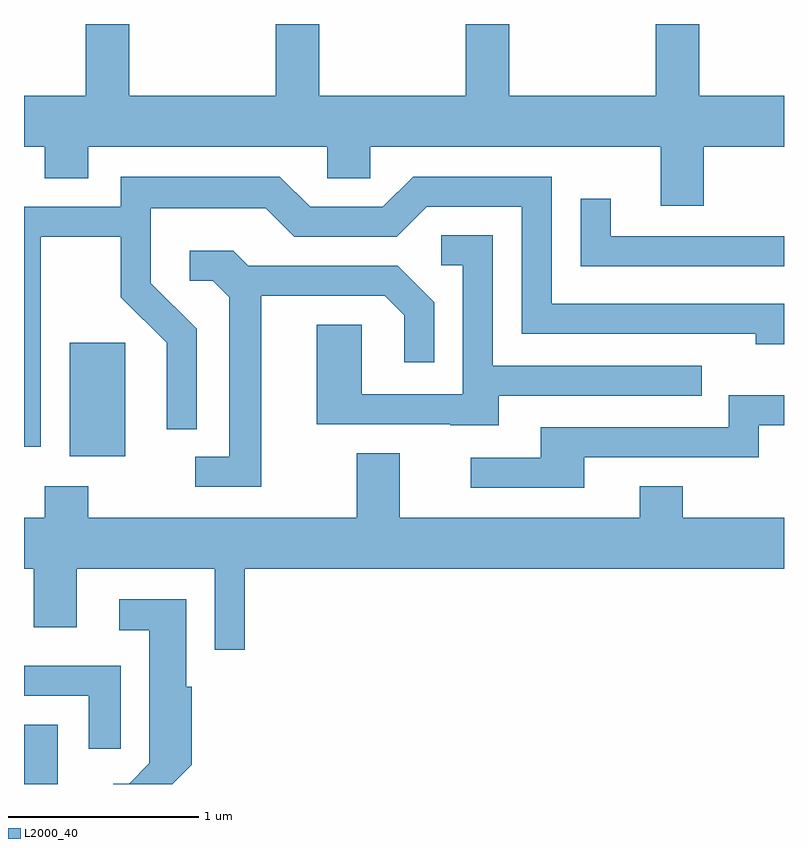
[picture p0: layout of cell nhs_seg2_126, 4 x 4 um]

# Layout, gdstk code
import gdstk
lib = gdstk.Library(unit=1e-6, precision=1e-09)
def R(c, l, rs):  # rectangles x0, y0, x1, y1
    for r in rs: c.add(gdstk.rectangle(r[:2], r[2:], *l))
def P(c, l, *ps):  # polygons
    for p in ps: c.add(gdstk.Polygon(p, *l))
L2000_40 = (2000, 40)

nhs_seg2_126 = lib.new_cell('nhs_seg2_126')
R(nhs_seg2_126, L2000_40, [(187.611,1093.802,187.789,1094.114), (187.851,1095.526,188.144,1096.124)])
P(nhs_seg2_126, L2000_40, [(191.189,1097.156),(191.611,1097.156),(191.611,1097.424),(191.164,1097.424),(191.164,1097.802),(190.936,1097.802),(190.936,1097.424),(190.164,1097.424),(190.164,1097.802),(189.936,1097.802),(189.936,1097.424),(189.164,1097.424),(189.164,1097.802),(188.936,1097.802),(188.936,1097.424),(188.164,1097.424),(188.164,1097.802),(187.936,1097.802),(187.936,1097.424),(187.611,1097.424),(187.611,1097.156),(187.721,1097.156),(187.721,1096.991),(187.949,1096.991),(187.949,1097.156),(189.206,1097.156),(189.206,1096.991),(189.434,1096.991),(189.434,1097.156),(190.961,1097.156),(190.961,1096.846),(191.189,1096.846)],
  [(187.699,1096.681),(188.121,1096.681),(188.121,1096.364),(188.361,1096.124),(188.361,1095.668),(188.519,1095.668),(188.519,1096.197),(188.279,1096.437),(188.279,1096.831),(188.884,1096.831),(189.034,1096.681),(189.572,1096.681),(189.732,1096.841),(190.231,1096.841),(190.231,1096.171),(191.461,1096.171),(191.461,1096.116),(191.611,1096.116),(191.611,1096.329),(190.389,1096.329),(190.389,1096.999),(189.659,1096.999),(189.499,1096.839),(189.117,1096.839),(188.957,1096.999),(188.121,1096.999),(188.121,1096.839),(187.611,1096.839),(187.611,1095.576),(187.699,1095.576)],
  [(191.611,1096.684),(190.699,1096.684),(190.699,1096.883),(190.541,1096.883),(190.541,1096.526),(191.611,1096.526)],
  [(190.109,1095.846),(191.178,1095.846),(191.178,1096.004),(190.079,1096.004),(190.079,1096.689),(189.808,1096.689),(189.808,1096.531),(189.921,1096.531),(189.921,1095.854),(189.389,1095.854),(189.389,1096.219),(189.151,1096.219),(189.151,1095.696),(189.855,1095.696),(189.855,1095.691),(190.109,1095.691)],
  [(188.859,1096.371),(189.509,1096.371),(189.611,1096.269),(189.611,1096.023),(189.769,1096.023),(189.769,1096.337),(189.577,1096.529),(188.792,1096.529),(188.712,1096.609),(188.483,1096.609),(188.483,1096.451),(188.604,1096.451),(188.691,1096.364),(188.691,1095.524),(188.513,1095.524),(188.513,1095.366),(188.859,1095.366)],
  [(190.559,1095.521),(191.479,1095.521),(191.479,1095.691),(191.611,1095.691),(191.611,1095.849),(191.321,1095.849),(191.321,1095.679),(190.331,1095.679),(190.331,1095.519),(189.963,1095.519),(189.963,1095.361),(190.559,1095.361)],
  [(188.774,1094.936),(191.611,1094.936),(191.611,1095.204),(191.079,1095.204),(191.079,1095.369),(190.851,1095.369),(190.851,1095.204),(189.589,1095.204),(189.589,1095.544),(189.361,1095.544),(189.361,1095.204),(187.949,1095.204),(187.949,1095.369),(187.721,1095.369),(187.721,1095.204),(187.611,1095.204),(187.611,1094.936),(187.661,1094.936),(187.661,1094.626),(187.889,1094.626),(187.889,1094.936),(188.616,1094.936),(188.616,1094.508),(188.774,1094.508)],
  [(188.494,1093.904),(188.494,1094.314),(188.464,1094.314),(188.464,1094.774),(188.113,1094.774),(188.113,1094.611),(188.271,1094.611),(188.271,1093.912),(188.164,1093.804),(188.081,1093.804),(188.081,1093.802),(188.392,1093.802)],
  [(188.119,1094.424),(187.611,1094.424),(187.611,1094.266),(187.951,1094.266),(187.951,1093.988),(188.119,1093.988)])

lib.write_gds('nhs_seg2_126.gds')
